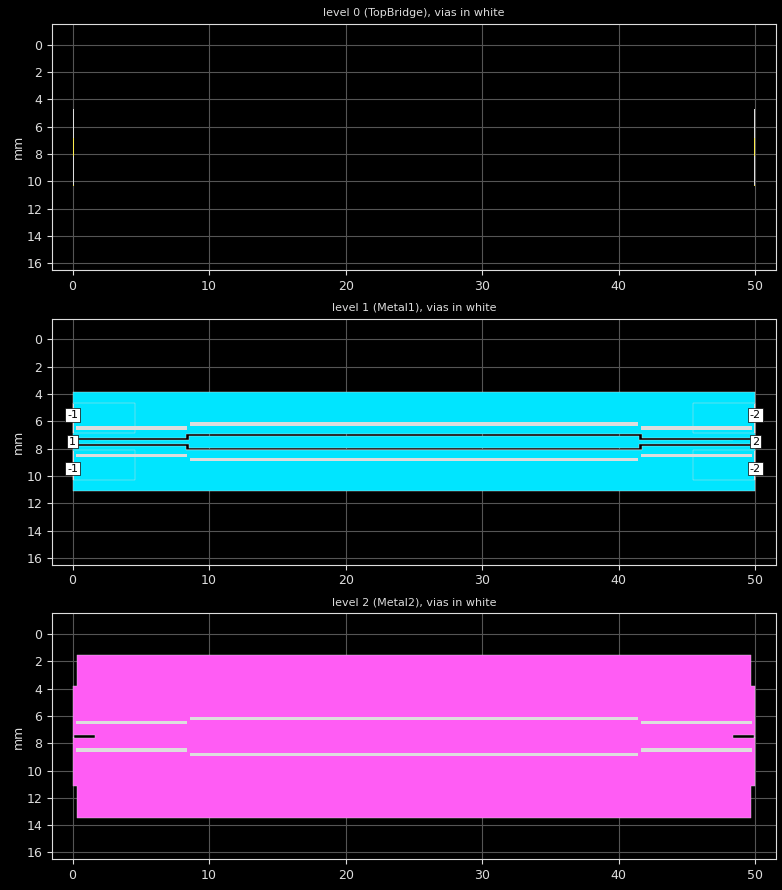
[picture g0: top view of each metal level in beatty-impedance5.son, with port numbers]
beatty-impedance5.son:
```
FTYP SONPROJ 19 ! Sonnet Project File
VER 18.01
HEADER
LIC antikernel2.1.51012 90e2ba8817c1 havequick azonenberg Level3Gold
DAT 09/04/2021 23:55:34
BUILT_BY_CREATED dxf 17.52.2 05/01/2020 05:35:06
BUILT_BY_SAVED sonnet 18.01
MDATE 08/25/2021 18:15:35
HDATE 08/25/2021 18:15:35
ANN Created by dxfgeo, Sonnet Software Inc.
END HEADER
DIM
ANG DEG
CAP PF
CON /OH
FREQ GHZ
IND NH
LNG MM
RES OH
END DIM
CONTROL
VARSWP
OPTIONS  -dj
SPEED 1
CACHE_ABS 1
Q_ACC N
END CONTROL
GEO
DRP1 LEFT NONE 10
DRP1 RIGHT NONE 10
TMET "Free Space" 0 FREESPACE 376.7303136 0 0 0
BMET "Free Space" 0 FREESPACE 376.7303136 0 0 0
MET "Copper 1oz thick" 2 TMM 58000000 0.5 0.035 2
MET "Nickel " 3 TMM 14300000 0.5 3.5e-05 2
MET "Copper 0.5oz" 1 NOR 58000000 0.5 0.0175 
MET "Unknown_metal" 1 NOR INF 0.5 0 
MET "Copper 0.25mm thick" 4 TMM 58000000 0.5 0.25 2
MET "Brass 0.8mm" 11 TMM 15700000 0.5 0.8 2
MET "Copper_0.5oz" 1 NOR 58000000 0.5 0.0175 
MET "Copper_1oz_thick" 2 TMM 58000000 0.5 0.035 2
MET "Copper_0.25mm_thick" 4 TMM 58000000 0.5 0.25 2
MET "Brass_0.8mm" 11 TMM 15700000 0.5 0.8 2
MET "Nickel_" 1 NOR 14300000 0.5 0 
MET "Unknown_metal" 1 VOL INF 0
BRI "Alumina (96%)" 0 9.4 0.0004 0 
BRI "Alumina (99.5%)" 0 9.9 0.0001 0 
BRI "Aluminum Nitride" 0 8.6 0.0003 0 
BRI "Arlon 25FR" 0 3.58 0.0035 0 
BRI "Arlon 25N" 0 3.38 0.0025 0 
BRI "Arlon AD5" 0 5.1 0.003 0 
BRI "Arlon AD10" 0 10.2 0.005 0 
BRI "Arlon AD250" 0 2.5 0.0018 0 
BRI "Arlon AD255A" 0 2.55 0.0015 0 
BRI "Arlon AD260A" 0 2.6 0.0018 0 
BRI "Arlon AD270" 0 2.7 0.0023 0 
BRI "Arlon AD300A" 0 3 0.002 0 
BRI "Arlon AD320A" 0 3.2 0.0032 0 
BRI "Arlon AD350A" 0 3.5 0.003 0 
BRI "Arlon AD410" 0 4.1 0.003 0 
BRI "Arlon AD430" 0 4.3 0.003 0 
BRI "Arlon AD450" 0 4.5 0.0035 0 
BRI "Arlon AD600" 0 6.15 0.003 0 
BRI "Arlon AD1000" 0 10.2 0.0023 0 
BRI "Arlon AR1000" 0 9.8 0.003 0 
BRI "Arlon CLTE" 0 2.96 0.0023 0 
BRI "Arlon CLTE-AT" 0 3 0.0013 0 
BRI "Arlon CLTE-P" 0 2.94 0.0025 0 
BRI "Arlon CLTE-XT" 0 2.94 0.0012 0 
BRI "Arlon Cu 217LX" 0 2.17 0.0009 0 
BRI "Arlon Cu 233LX" 0 2.33 0.0013 0 
BRI "Arlon Cu 250GT" 0 2.5 0.001 0 
BRI "Arlon Cu 250GX" 0 2.5 0.0018 0 
BRI "Arlon Cu 6250" 0 2.32 0.0013 0 
BRI "Arlon Cu 6700" 0 2.35 0.0025 0 
BRI "Arlon Di 522" 0 2.5 0.001 0 
BRI "Arlon Di 527" 0 2.5 0.0018 0 
BRI "Arlon Di 870" 0 2.33 0.0013 0 
BRI "Arlon Di 880" 0 2.17 0.0009 0 
BRI "Arlon Iso 917" 0 2.17 0.0013 0 
BRI "Arlon Iso 933" 0 2.33 0.0016 0 
BRI "Arlon Multi HF" 0 3.7 0.004 0 
BRI "Arlon TC350" 0 3.5 0.002 0 
BRI "Arlon TC600" 0 6.15 0.002 0 
BRI "Beryllia (99.5%)" 0 6.5 0.0004 0 
BRI "CEM-1" 0 4.5 0.02 0 
BRI "CEM-3" 0 4.5 0.02 0 
BRI "Dupont 9K7" 0 7.1 0.0012 0 
BRI "Dupont 943" 0 7.4 0.002 0 
BRI "Dupont 951" 0 7.8 0.006 0 
BRI "Dupont FEP" 0 2 0.0005 0 
BRI "Dupont Vacrel" 0 3.8 0.011 0 
BRI "ESL 41010" 0 7.5 0.005 0 
BRI "ESL 41020" 0 7.25 0.005 0 
BRI "ESL 41050" 0 13.5 0.002 0 
BRI "ESL 41060" 0 16.5 0.002 0 
BRI "ESL 41110" 0 4.5 0.004 0 
BRI "Ferro A6M" 0 5.9 0.002 0 
BRI "Ferro A6S" 0 5.9 0.002 0 
BRI "Ferro L8" 0 7.3 0.0018 0 
BRI "FR-4" 0 4.4 0.02 0 
BRI "G-10" 0 4.8 0.025 0 
BRI "Gallium Arsenide" 0 12.9 0.006 0 
BRI "Gallium Nitride" 0 9.7 0 0 
BRI "Glass (Pyrex)" 0 4.82 0.0054 0 
BRI "Heraeus HL2000" 0 7.3 0.0026 0 
BRI "Isola 370HR" 0 4.04 0.021 0 
BRI "Isola FR408" 0 3.77 0.0116 0 
BRI "Isola FR408HR" 0 3.68 0.0092 0 
BRI "Isola Getek" 0 3.6 0.01 0 
BRI "Isola GI-180" 0 3.7 0.013 0 
BRI "Isola IS415" 0 3.82 0.0125 0 
BRI "Isola IS620i" 0 3.58 0.006 0 
BRI "Isola IS680-280" 0 2.8 0.0025 0 
BRI "Isola IS680-300" 0 3 0.003 0 
BRI "Isola IS680-320" 0 3.2 0.003 0 
BRI "Isola IS680-333" 0 3.33 0.003 0 
BRI "Isola IS680-338" 0 3.38 0.0032 0 
BRI "Isola IS680-345" 0 3.45 0.0036 0 
BRI "Kerafol CT800" 0 5.3 0.008 0 
BRI "Nelco MW9350" 0 3.7 0.004 0 
BRI "Nelco N4000-12" 0 3.7 0.008 0 
BRI "Nelco N4000-13" 0 3.7 0.009 0 
BRI "Nelco N4000-13SI" 0 3.2 0.007 0 
BRI "Nelco N4000-13EP" 0 3.7 0.008 0 
BRI "Nelco N4350-13RF" 0 3.5 0.0065 0 
BRI "Nelco N4380-13RF" 0 3.8 0.007 0 
BRI "Nelco N9300-13RF" 0 3 0.004 0 
BRI "Nelco N9320-13RF" 0 3.2 0.0045 0 
BRI "Nelco N9338-13RF" 0 3.38 0.0046 0 
BRI "Nelco N9350-13RF" 0 3.48 0.0055 0 
BRI "Nelco NH9294" 0 2.94 0.0022 0 
BRI "Nelco NH9300" 0 3 0.0023 0 
BRI "Nelco NH9320" 0 3.2 0.0024 0 
BRI "Nelco NH9338" 0 3.38 0.0025 0 
BRI "Nelco NH9348" 0 3.48 0.003 0 
BRI "Nelco NH9350" 0 3.5 0.003 0 
BRI "Nelco NH9410" 0 4.1 0.003 0 
BRI "Nelco NH9450" 0 4.5 0.003 0 
BRI "Nelco NX9240" 0 2.4 0.0016 0 
BRI "Nelco NX9245" 0 2.45 0.0016 0 
BRI "Nelco NX9250" 0 2.5 0.0017 0 
BRI "Nelco NX9255" 0 2.55 0.0018 0 
BRI "Nelco NX9260" 0 2.6 0.0019 0 
BRI "Nelco NY9208" 0 2.08 0.0006 0 
BRI "Nelco NY9217" 0 2.17 0.0008 0 
BRI "Nelco NY9220" 0 2.2 0.0009 0 
BRI "Nelco NY9233" 0 2.33 0.0011 0 
BRI "PET" 0 3.37 0.0208 0 
BRI "Polyimide" 0 3.5 0.003 0 
BRI "Quartz (Fused)" 0 3.78 0.0001 0 
BRI "Rogers 3001" 0 2.28 0.003 0 
BRI "Rogers RO2808" 0 7.6 0.0015 0 
BRI "Rogers RO3003" 0 3 0.0013 0 
BRI "Rogers RO3006" 0 6.5 0.002 0 
BRI "Rogers RO3010" 0 11.2 0.0022 0 
BRI "Rogers RO3035" 0 3.6 0.0018 0 
BRI "Rogers RO3203" 0 3.02 0.0016 0 
BRI "Rogers RO3206" 0 6.6 0.0027 0 
BRI "Rogers RO3210" 0 10.8 0.0027 0 
BRI "Rogers RO3730" 0 3 0.0016 0 
BRI "Rogers RO4003C" 0 3.55 0.0029 0 
BRI "Rogers RO4533" 0 3.45 0.0029 0 
BRI "Rogers RO4534" 0 3.4 0.003 0 
BRI "Rogers RO4350B" 0 3.66 0.0037 0 
BRI "Rogers RO4350BTX" 0 3.66 0.0034 0 
BRI "Rogers RO4360" 0 6.15 0.0038 0 
BRI "Rogers RO4450B-3.6" 0 3.3 0.0043 0 
BRI "Rogers RO4450B-4" 0 3.54 0.004 0 
BRI "Rogers RO4450F" 0 3.52 0.0041 0 
BRI "Rogers RO4730" 0 3 0.0033 0 
BRI "Rogers RT5870" 0 2.33 0.0012 0 
BRI "Rogers RT5880" 0 2.2 0.0009 0 
BRI "Rogers RT5880LZ" 0 1.96 0.0019 0 
BRI "Rogers RT6002" 0 2.94 0.0012 0 
BRI "Rogers RT6006" 0 6.15 0.0027 0 
BRI "Rogers RT6010LM" 0 10.9 0.0023 0 
BRI "Rogers RT6035HTC" 0 3.6 0.0013 0 
BRI "Rogers RT6202" 0 2.94 0.0015 0 
BRI "Rogers RT6202PR" 0 2.95 0.0015 0 
BRI "Rogers Syron7000" 0 3.4 0.0045 0 
BRI "Rogers Syron7100-2" 0 3.61 0.006 0 
BRI "Rogers Syron7100-4" 0 3.39 0.005 0 
BRI "Rogers Theta" 0 4.01 0.0118 0 
BRI "Rogers TMM 3" 0 3.39 0.002 0 
BRI "Rogers TMM 4" 0 4.5 0.002 0 
BRI "Rogers TMM 6" 0 6 0.0023 0 
BRI "Rogers TMM 10" 0 9.56 0.0022 0 
BRI "Rogers TMM 10i" 0 9.96 0.002 0 
BRI "Rogers UL2000" 0 2.5 0.0019 0 
BRI "Rogers UL3850" 0 3.05 0.0025 0 
BRI "Rogers UL3908" 0 2.9 0.0025 0 
BRI "Rogers XT8000" 0 3.34 0.0035 0 
BRI "Rogers XT8100-2" 0 3.54 0.0049 0 
BRI "Rogers XT8100-4" 0 3.32 0.0038 0 
BRI "Silicon (intrinsic)" 0 11.9 0.004 0.00044 
BRI "Silicon Dioxide" 0 3.9 0 0 
BRI "Silicon Nitride" 0 7.5 0 0 
BRI "Taconic CER-10" 0 10 0.0035 0 
BRI "Taconic FastFilm" 0 2.7 0.0012 0 
BRI "Taconic Fastrise-DS" 0 2.96 0.0018 0 
BRI "Taconic Fastrise27" 0 2.7 0.0014 0 
BRI "Taconic Fastrise77" 0 7.7 0.0034 0 
BRI "Taconic FEP" 0 2 0.0003 0 
BRI "Taconic RF-30" 0 3 0.0014 0 
BRI "Taconic RF-35" 0 3.5 0.0018 0 
BRI "Taconic RF-35A2" 0 3.5 0.0011 0 
BRI "Taconic RF-35P" 0 3.5 0.0025 0 
BRI "Taconic RF-41" 0 4.1 0.0038 0 
BRI "Taconic RF-43" 0 4.3 0.0033 0 
BRI "Taconic RF-45" 0 4.5 0.0037 0 
BRI "Taconic RF-60A" 0 6.15 0.0038 0 
BRI "Taconic RF-301" 0 2.97 0.0012 0 
BRI "Taconic TacBond HT" 0 2.35 0.0025 0 
BRI "Taconic TLA-6" 0 2.62 0.0012 0 
BRI "Taconic TLC-27" 0 2.75 0.003 0 
BRI "Taconic TLC-30" 0 3 0.003 0 
BRI "Taconic TLC-32" 0 3.2 0.003 0 
BRI "Taconic TLE-95" 0 2.95 0.0028 0 
BRI "Taconic TLF-34" 0 3.4 0.002 0 
BRI "Taconic TLF-35" 0 3.5 0.002 0 
BRI "Taconic TLP-3" 0 2.33 0.0009 0 
BRI "Taconic TLP-5" 0 2.2 0.0009 0 
BRI "Taconic TLP-5A" 0 2.17 0.0009 0 
BRI "Taconic TLT-0" 0 2.45 0.0006 0 
BRI "Taconic TLT-9" 0 2.5 0.0006 0 
BRI "Taconic TLT-8" 0 2.55 0.0006 0 
BRI "Taconic TLT-7" 0 2.6 0.0006 0 
BRI "Taconic TLT-6" 0 2.65 0.0006 0 
BRI "Taconic TLX-0" 0 2.45 0.0019 0 
BRI "Taconic TLX-9" 0 2.5 0.0019 0 
BRI "Taconic TLX-8" 0 2.55 0.0019 0 
BRI "Taconic TLX-7" 0 2.6 0.0019 0 
BRI "Taconic TLX-6" 0 2.65 0.0019 0 
BRI "Taconic TLY-3" 0 2.33 0.0009 0 
BRI "Taconic TLY-3F" 0 2.33 0.0009 0 
BRI "Taconic TLY-5" 0 2.2 0.0009 0 
BRI "Taconic TLY-5-L" 0 2.2 0.0009 0 
BRI "Taconic TLY-5A" 0 2.17 0.0009 0 
BRI "Taconic TLY-5A-L" 0 2.17 0.0009 0 
BRI "Taconic TPG-30" 0 3 0.0038 0 
BRI "Taconic TPG-32" 0 3.2 0.005 0 
BRI "Taconic TPG-35" 0 3.5 0.005 0 
BRI "Taconic TRF-41" 0 4.1 0.0035 0 
BRI "Taconic TRF-43" 0 4.3 0.0035 0 
BRI "Taconic TRF-45" 0 4.5 0.0035 0 
BRI "Taconic TSM-DS" 0 2.85 0.001 0 
BRI "Taconic TSM-DS3" 0 3 0.0011 0 
BRI "Taconic TSM-26" 0 2.6 0.0014 0 
BRI "Taconic TSM-29" 0 2.94 0.0013 0 
BRI "Taconic TSM-30" 0 3 0.0013 0 
BRI "Teflon (PTFE)" 0 2.08 0.0004 0 
BOX 3 50 15 4000 6000 20 0
      10 1 1 0 0 0 0 "Air"
      0.8 1 1 0 0 0 0 "Air"
      0.166 3.66 1 0.0037 0 0 0 "Rogers RO4350B"
      10 1 1 0 0 0 0 "Air"
TECHLAY METAL TopBridge <UNSPECIFIED> -1 -65534 
0 0 6 N 3499 1 1 100 100 0 0 0 Y
END
END
TECHLAY VIA Via2 <UNSPECIFIED> -6 -65534 
VIA POLYGON
0 0 -1 N 3501 1 1 100 100 0 0 0 Y
TOLEVEL 1 RING NOCOVERS
END
END
TECHLAY METAL Metal1 BLACK -2 -65534 
1 0 7 N 3504 1 1 100 100 0 0 0 Y
END
END
TECHLAY METAL CenterPin <UNSPECIFIED> -3 -65534 
1 0 8 N 3512 1 1 100 100 0 0 0 Y
END
END
TECHLAY METAL ConnBody <UNSPECIFIED> -4 -65534 
1 0 9 N 3514 1 1 100 100 0 0 0 Y
END
END
TECHLAY VIA Via1 <UNSPECIFIED> -7 -65534 
VIA POLYGON
1 0 -1 N 3516 1 1 100 100 0 0 0 Y
TOLEVEL 2 RING NOCOVERS
END
END
TECHLAY METAL Metal2 BLACK -5 -65534 
2 0 6 N 3519 1 1 100 100 0 0 0 Y
END
END
VALVAR BOTLEN LNG 2 "Variable set in material file"
VALVAR TOPLEN LNG 3 "Variable set in material file"
VALVAR RESLEN LNG 33 "Dim. Param. RESLEN"
VALVAR WIDTH25 LNG 0.89 "Dim. Param. WIDTH25"
DIM STD YDIR 1
POS 1.48380781 8.114546708
NOM 11.95
REF1 POLY 2960 1
13
REF2 POLY 2960 1
33
END
DIM STD YDIR 1
POS -1.48380781 8.114546708
NOM 11.95
REF1 POLY 2960 1
16
REF2 POLY 2960 1
30
END
DIM STD XDIR 1
POS 1.353274859 -0.08058315952
NOM 1.65
REF1 POLY 2918 1
0
REF2 POLY 2918 1
1
END
DIM STD YDIR -1
POS -0.06915206507 -0.2024361302
NOM 0.25
REF1 POLY 2918 1
3
REF2 POLY 2918 1
0
END
DIM STD XDIR 1
POS 4.710339183 -0.148846506
NOM 4.55
REF1 POLY 2916 1
0
REF2 POLY 2916 1
1
END
DIM STD XDIR 1
POS 0.1287407935 -0.09475026035
NOM 0.125
REF1 POLY 2930 1
0
REF2 POLY 2930 1
1
END
DIM STD XDIR -1
POS -1.353274859 -0.08058315952
NOM 1.65
REF1 POLY 2933 1
0
REF2 POLY 2933 1
1
END
DIM STD YDIR -1
POS 0.06915206507 -0.2024361302
NOM 0.25
REF1 POLY 2933 1
3
REF2 POLY 2933 1
0
END
DIM STD XDIR -1
POS -4.710339183 -0.148846506
NOM 4.55
REF1 POLY 2935 1
0
REF2 POLY 2935 1
1
END
DIM STD YDIR -1
POS -0.07734475184 -0.2657854088
NOM 0.31
REF1 POLY 2609 1
8
REF2 POLY 2609 1
7
END
DIM STD XDIR -1
POS -0.1287407935 -0.09475026035
NOM 0.125
REF1 POLY 3269 1
0
REF2 POLY 3269 1
1
END
DIM STD YDIR -1
POS 0.1382391633 -0.08338096187
NOM 0.15
REF1 POLY 2609 1
5
REF2 POLY 2629 1
4
END
DIM STD XDIR 1
POS 1.490976212 -0.05238372824
NOM 1.525
REF1 POLY 2960 1
22
REF2 POLY 2960 1
23
END
DIM STD YDIR 1
POS 0.1071419501 0.155649991
NOM 0.24
REF1 POLY 2960 1
23
REF2 POLY 2960 1
24
END
LORGN 0 15 U 
POR1 BOX
POLY 2609 1
1
2 50 0 0 0 50 7.5 
POR1 BOX
POLY 2609 1
7
1 50 0 0 0 0 7.5 
POR1 BOX
POLY 2629 1
7
-2 50 0 0 0 50 5.53 
POR1 BOX
POLY 2629 1
1
-1 50 0 0 0 0 5.53 
POR1 BOX
POLY 3250 1
7
-2 50 0 0 0 50 9.47 
POR1 BOX
POLY 3250 1
1
-1 50 0 0 0 0 9.47 
NUM 22
0 5 6 N 2930 1 1 100 100 0 0 0 Y
TLAYNAM TopBridge INH
0 4.665
0.125 4.665
0.125 10.325
0 10.325
0 4.665
END
0 5 6 N 3269 1 1 100 100 0 0 0 Y
TLAYNAM TopBridge INH
50 4.665
49.875 4.665
49.875 10.325
50 10.325
50 4.665
END
VIA POLYGON
0 5 -1 N 2928 1 1 100 100 0 0 0 Y
TOLEVEL 1 RING NOCOVERS
TLAYNAM Via2 INH
0.05 10.29
0.075 10.29
0.075 8.17
0.05 8.17
0.05 10.29
END
VIA POLYGON
0 5 -1 N 2929 1 1 100 100 0 0 0 Y
TOLEVEL 1 RING NOCOVERS
TLAYNAM Via2 INH
0.05 4.71
0.075 4.71
0.075 6.83
0.05 6.83
0.05 4.71
END
VIA POLYGON
0 5 -1 N 2934 1 1 100 100 0 0 0 Y
TOLEVEL 1 RING NOCOVERS
TLAYNAM Via2 INH
49.95 10.29
49.925 10.29
49.925 8.17
49.95 8.17
49.95 10.29
END
VIA POLYGON
0 5 -1 N 2936 1 1 100 100 0 0 0 Y
TOLEVEL 1 RING NOCOVERS
TLAYNAM Via2 INH
49.95 4.71
49.925 4.71
49.925 6.83
49.95 6.83
49.95 4.71
END
1 13 7 N 2609 1 1 100 100 0 0 0 Y
TLAYNAM Metal1 INH
USER_DAT FromImport
41.5 7.655
50 7.655
50 7.345
41.5 7.345
41.5 7.055
8.5 7.055
8.5 7.345
0 7.345
0 7.655
8.5 7.655
8.5 7.945
41.5 7.945
41.5 7.655
END
1 9 7 N 2629 1 1 100 100 0 0 0 Y
TLAYNAM Metal1 INH
50 3.865
0 3.865
0 7.195
8.3 7.195
8.3 6.905
41.7 6.905
41.7 7.195
50 7.195
50 3.865
END
1 9 7 N 3250 1 1 100 100 0 0 0 Y
TLAYNAM Metal1 INH
50 11.135
0 11.135
0 7.805
8.3 7.805
8.3 8.095
41.7 8.095
41.7 7.805
50 7.805
50 11.135
END
1 5 8 N 2918 1 1 100 100 0 0 0 Y
TLAYNAM CenterPin INH
-8.881784197e-16 7.37
1.65 7.37
1.65 7.62
-8.881784197e-16 7.62
-8.881784197e-16 7.37
END
1 5 8 N 2933 1 1 100 100 0 0 0 Y
TLAYNAM CenterPin INH
50 7.37
48.35 7.37
48.35 7.62
50 7.62
50 7.37
END
1 5 9 N 2916 1 1 100 100 0 0 0 Y
TLAYNAM ConnBody INH
-8.881784197e-16 4.665
4.55 4.665
4.55 6.86
-8.881784197e-16 6.86
-8.881784197e-16 4.665
END
1 5 9 N 2917 1 1 100 100 0 0 0 Y
TLAYNAM ConnBody INH
-8.881784197e-16 8.13
4.55 8.13
4.55 10.325
-8.881784197e-16 10.325
-8.881784197e-16 8.13
END
1 5 9 N 2932 1 1 100 100 0 0 0 Y
TLAYNAM ConnBody INH
50 8.13
45.45 8.13
45.45 10.325
50 10.325
50 8.13
END
1 5 9 N 2935 1 1 100 100 0 0 0 Y
TLAYNAM ConnBody INH
50 4.665
45.45 4.665
45.45 6.86
50 6.86
50 4.665
END
VIA POLYGON
1 5 -1 N 2485 1 1 100 100 0 0 0 Y
TOLEVEL 2 RING NOCOVERS
TLAYNAM Via1 INH
USER_DAT FromImport
41.4 6.065
8.6 6.065
8.6 6.315
41.4 6.315
41.4 6.065
END
VIA POLYGON
1 5 -1 N 2486 1 1 100 100 0 0 0 Y
TOLEVEL 2 RING NOCOVERS
TLAYNAM Via1 INH
USER_DAT FromImport
41.4 8.685
8.6 8.685
8.6 8.935
41.4 8.935
41.4 8.685
END
VIA POLYGON
1 5 -1 N 2621 1 1 100 100 0 0 0 Y
TOLEVEL 2 RING NOCOVERS
TLAYNAM Via1 INH
USER_DAT FromImport
49.75 8.375
41.6 8.375
41.6 8.625
49.75 8.625
49.75 8.375
END
VIA POLYGON
1 5 -1 N 2622 1 1 100 100 0 0 0 Y
TOLEVEL 2 RING NOCOVERS
TLAYNAM Via1 INH
USER_DAT FromImport
8.4 8.375
0.25 8.375
0.25 8.625
8.4 8.625
8.4 8.375
END
VIA POLYGON
1 5 -1 N 2623 1 1 100 100 0 0 0 Y
TOLEVEL 2 RING NOCOVERS
TLAYNAM Via1 INH
USER_DAT FromImport
49.75 6.375
41.6 6.375
41.6 6.625
49.75 6.625
49.75 6.375
END
VIA POLYGON
1 5 -1 N 2624 1 1 100 100 0 0 0 Y
TOLEVEL 2 RING NOCOVERS
TLAYNAM Via1 INH
USER_DAT FromImport
8.4 6.375
0.25 6.375
0.25 6.625
8.4 6.625
8.4 6.375
END
2 35 6 N 2960 1 1 100 100 0 0 0 Y
TLAYNAM Metal2 INH
49.6875 11.16
49.95 11.16
49.95 7.62
49.875 7.62
48.35 7.62
48.35 7.38
49.875 7.38
49.875 7.62
49.95 7.62
49.95 7.62
49.95 7.11
49.95 3.84
49.6875 3.84
49.6875 1.52
14.15 1.52
14.15 1.52
0.3125 1.52
0.3125 3.84
0.05 3.84
0.05 7.11
0.05 7.62
0.125 7.62
0.125 7.38
1.65 7.38
1.65 7.62
0.125 7.62
0.05 7.62
0.05 7.62
0.05 11.16
0.3125 11.16
0.3125 13.47
12.225 13.47
12.225 13.47
49.6875 13.47
49.6875 11.16
END
END GEO
SUBDIV
MAIN $BASENAME_net.son
REFPLANE A 6.5
NAME 1 $BASENAME_net_s1.son
NAME 2 $BASENAME_net_s2.son
NAME 3 $BASENAME_net_s3.son
NAME 4 $BASENAME_net_s4.son
LINE 1 12 V 
LINE 2 25 V 
LINE 3 38 V 
END SUBDIV
OPT
MAX 100
END OPT
VARSWP
ENABLED Y
FREQ Y AY ABS_ENTRY 0.01 20.0 -1 300 
VAR RESLEN N 33.0 33.0 UNDEF
VAR WIDTH25 N 0.89 0.89 UNDEF
END
END VARSWP
3DOPTIONS
GLOBAL 1
ALL 3 1
END 3DOPTIONS
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```
